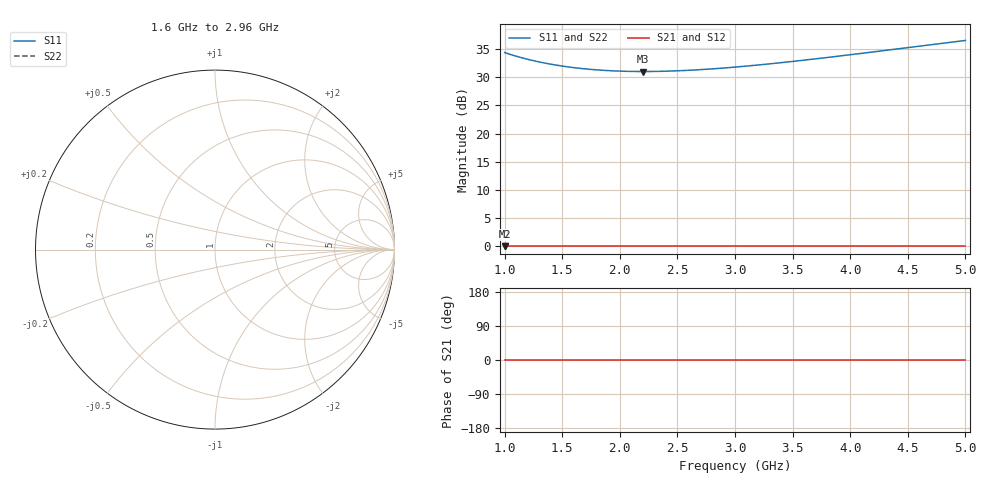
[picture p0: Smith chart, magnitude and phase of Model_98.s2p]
# GHZ S RI R 50
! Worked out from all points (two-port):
!   401 points, 1 GHz to 5 GHz, reference 50 ohm
!   highest |S21| = 0.00 dB at 1 GHz (marker M1); lowest = 0.0 dB at 1 GHz (marker M2)
!   |S21| within 3 dB of the highest: start of sweep to end of sweep
!   lowest |S11| = 31.0 dB at 2.2 GHz (marker M3)
!   |S11| at or under -10 dB: nowhere
!   |S22| runs from 31.0 to 36.5 dB; largest |S21 - S12| = 0
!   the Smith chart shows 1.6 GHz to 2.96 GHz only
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1  52.46 0  1 0  1 0  52.46 0
1.15  47.15 0  1 0  1 0  47.15 0
1.22  45.2 0  1 0  1 0  45.2 0
1.3  43.32 0  1 0  1 0  43.32 0
1.38  41.72 0  1 0  1 0  41.72 0
1.47  40.23 0  1 0  1 0  40.23 0
1.57  38.89 0  1 0  1 0  38.89 0
1.67  37.83 0  1 0  1 0  37.83 0
1.79  36.88 0  1 0  1 0  36.88 0
1.92  36.17 0  1 0  1 0  36.17 0
2.06  35.74 0  1 0  1 0  35.74 0
2.2  35.6 0  1 0  1 0  35.6 0
2.34  35.71 0  1 0  1 0  35.71 0
2.5  36.12 0  1 0  1 0  36.12 0
2.66  36.79 0  1 0  1 0  36.79 0
3  38.96 0  1 0  1 0  38.96 0
3.33  41.93 0  1 0  1 0  41.93 0
3.67  45.76 0  1 0  1 0  45.76 0
4  50.17 0  1 0  1 0  50.17 0
4.34  55.36 0  1 0  1 0  55.36 0
4.63  60.28 0  1 0  1 0  60.28 0
5  67.2 0  1 0  1 0  67.2 0
